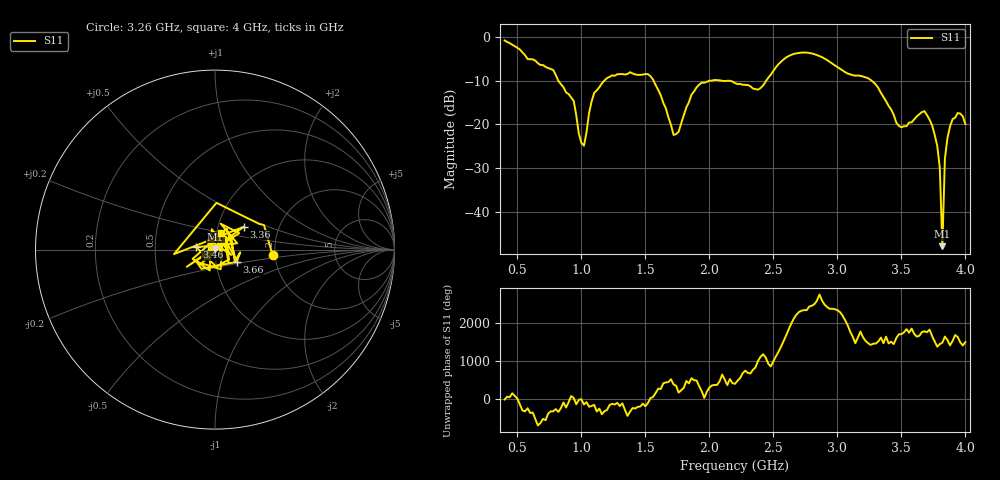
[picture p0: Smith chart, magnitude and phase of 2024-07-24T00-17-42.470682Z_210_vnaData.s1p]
!Created with skrf (http://scikit-rf.org).
# Hz S RI R 50.0
!freq ReS11 ImS11
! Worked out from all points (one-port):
!   181 points, 400 MHz to 4 GHz, reference 50 ohm
!   lowest |S11| = -47.9 dB at 3.82 GHz (marker M1), VSWR 1.01, Z = 50.2 + j0.323 ohm
!   |S11| at or under -10 dB: 819.5 MHz to 1.179 GHz (359.1 MHz wide, 35.9 % of centre); 1.564 GHz to 2.007 GHz (443 MHz wide, 24.8 % of centre); 3.267 GHz to end of sweep (the widest 3 of 4)
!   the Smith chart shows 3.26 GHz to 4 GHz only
!   S11 on the Smith chart (normalised r, x): 3.26 GHz: 1.94, -0.14; 3.36 GHz: 1.33, +0.36; 3.46 GHz: 0.81, +0.02; 3.66 GHz: 1.26, -0.18; 4 GHz: 1.05, +0.20
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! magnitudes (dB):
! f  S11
! 400 MHz  -0.8
! 860 MHz  -11.5
! 940 MHz  -14.6
! 980 MHz  -22.1
! 1.02 GHz  -24.9
! 1.1 GHz  -12.8
! 1.3 GHz  -8.5
! 1.54 GHz  -9.0
! 1.72 GHz  -22.4
! 1.76 GHz  -21.7
! 1.92 GHz  -10.9
! 2.2 GHz  -10.5
! 2.38 GHz  -12.0
! 2.66 GHz  -3.9
! 3.1 GHz  -8.5
! 3.26 GHz  -9.8
! 3.36 GHz  -13.7
! 3.46 GHz  -19.6
! 3.56 GHz  -19.6
! 3.66 GHz  -17.2
! 3.72 GHz  -18.9
! 3.78 GHz  -24.9
! 3.8 GHz  -29.9
! 3.82 GHz  -47.9
! 3.84 GHz  -27.8
! 3.86 GHz  -23.1
! 3.94 GHz  -17.4
! 4 GHz  -19.9
